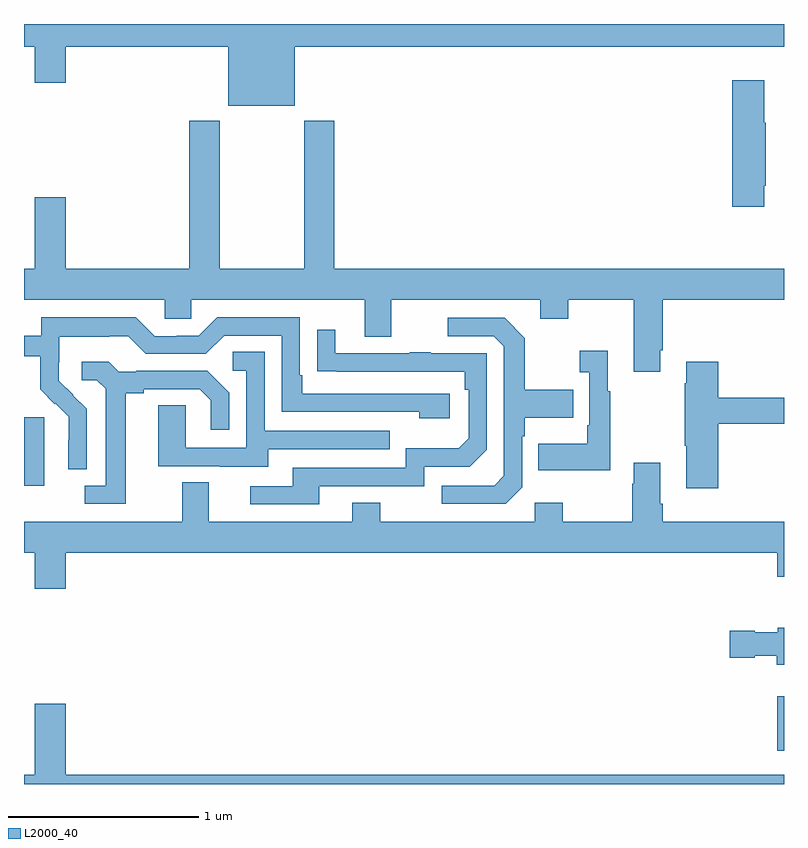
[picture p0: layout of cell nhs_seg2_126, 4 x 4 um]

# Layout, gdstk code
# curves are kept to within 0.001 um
import gdstk
lib = gdstk.Library(unit=1e-6, precision=1e-09)
def R(c, l, rs):  # rectangles x0, y0, x1, y1
    for r in rs: c.add(gdstk.rectangle(r[:2], r[2:], *l))
def P(c, l, *ps):  # polygons
    for p in ps: c.add(gdstk.Polygon(p, *l))
L2000_40 = (2000, 40)

nhs_seg2_126 = lib.new_cell('nhs_seg2_126')
R(nhs_seg2_126, L2000_40, [(120.965,599.976,121,600.262), (117,601.37,117.106,601.731)])
P(nhs_seg2_126, L2000_40, [(118.426,603.68),(121,603.68),(121,603.8),(117,603.8),(117,603.68),(117.056,603.68),(117.056,603.492),(117.22,603.492),(117.22,603.68),(118.076,603.68),(118.076,603.371),(118.426,603.371)],
  [(120.895,602.95),(120.903,602.95),(120.903,603.281),(120.895,603.281),(120.895,603.505),(120.728,603.505),(120.728,602.838),(120.895,602.838)],
  [(120.349,602.083),(120.362,602.083),(120.362,602.348),(121,602.348),(121,602.512),(118.634,602.512),(118.634,603.292),(118.474,603.292),(118.474,602.512),(118.029,602.512),(118.029,603.292),(117.869,603.292),(117.869,602.512),(117.22,602.512),(117.22,602.887),(117.056,602.887),(117.056,602.512),(117,602.512),(117,602.348),(117.741,602.348),(117.741,602.25),(117.879,602.25),(117.879,602.348),(118.793,602.348),(118.793,602.154),(118.933,602.154),(118.933,602.348),(119.717,602.348),(119.717,602.249),(119.865,602.249),(119.865,602.348),(120.209,602.348),(120.209,601.971),(120.349,601.971)],
  [(117.33,601.774),(117.184,601.922),(117.184,602.019),(117.186,602.019),(117.186,602.153),(117.449,602.153),(117.449,602.157),(117.549,602.157),(117.642,602.064),(117.957,602.064),(118.053,602.16),(118.356,602.16),(118.356,601.758),(119.081,601.758),(119.081,601.724),(119.242,601.724),(119.242,601.854),(118.465,601.854),(118.465,601.951),(118.452,601.951),(118.452,602.256),(118.017,602.256),(117.921,602.16),(117.803,602.16),(117.803,602.157),(117.687,602.157),(117.587,602.257),(117.09,602.257),(117.09,602.16),(117,602.16),(117,602.052),(117.085,602.052),(117.085,601.877),(117.162,601.8),(117.165,601.803),(117.236,601.733),(117.236,601.61),(117.234,601.61),(117.234,601.456),(117.33,601.456)],
  [(119.622,601.362),(119.622,601.631),(119.635,601.631),(119.635,601.727),(119.891,601.727),(119.891,601.875),(119.635,601.875),(119.635,602.147),(119.529,602.253),(119.229,602.253),(119.229,602.157),(119.472,602.157),(119.526,602.103),(119.526,601.422),(119.475,601.371),(119.199,601.371),(119.199,601.275),(119.535,601.275)],
  [(118.555,601.368),(119.106,601.368),(119.106,601.47),(119.346,601.47),(119.436,601.56),(119.436,602.067),(119.141,602.067),(119.141,602.072),(119.029,602.072),(119.029,602.067),(118.639,602.067),(118.639,602.191),(118.543,602.191),(118.543,601.972),(119.32,601.971),(119.32,601.874),(119.34,601.874),(119.34,601.62),(119.287,601.567),(119.01,601.567),(119.01,601.464),(118.415,601.464),(118.415,601.368),(118.191,601.368),(118.191,601.272),(118.555,601.272)],
  [(120.085,601.867),(120.073,601.867),(120.073,602.08),(119.925,602.08),(119.925,601.967),(119.976,601.967),(119.976,601.687),(119.964,601.687),(119.964,601.591),(119.707,601.591),(119.707,601.451),(120.085,601.451)],
  [(118.285,601.563),(118.925,601.563),(118.925,601.659),(118.266,601.659),(118.266,602.075),(118.098,602.075),(118.098,601.974),(118.17,601.974),(118.17,601.569),(117.852,601.569),(117.852,601.793),(117.707,601.793),(117.707,601.473),(118.031,601.473),(118.031,601.469),(118.285,601.469)],
  [(120.653,601.696),(121,601.696),(121,601.832),(120.653,601.832),(120.653,602.023),(120.485,602.023),(120.485,601.91),(120.478,601.91),(120.478,601.579),(120.485,601.579),(120.485,601.356),(120.653,601.356)],
  [(117.535,601.856),(117.631,601.856),(117.631,601.878),(117.926,601.878),(117.983,601.821),(117.983,601.665),(118.08,601.665),(118.08,601.858),(117.964,601.974),(117.592,601.974),(117.592,601.971),(117.498,601.971),(117.446,602.023),(117.303,602.023),(117.303,601.926),(117.384,601.926),(117.431,601.879),(117.431,601.371),(117.321,601.371),(117.321,601.275),(117.535,601.275)],
  [(117.22,601.016),(120.965,601.016),(120.965,600.892),(121,600.892),(121,601.18),(120.362,601.18),(120.362,601.276),(120.349,601.276),(120.349,601.492),(120.209,601.492),(120.209,601.379),(120.202,601.379),(120.202,601.18),(119.835,601.18),(119.835,601.279),(119.688,601.279),(119.688,601.18),(118.875,601.18),(118.875,601.279),(118.727,601.279),(118.727,601.18),(117.973,601.18),(117.973,601.388),(117.833,601.388),(117.833,601.18),(117,601.18),(117,601.016),(117.056,601.016),(117.056,600.828),(117.22,600.828)],
  [(121,600.622),(120.966,600.622),(120.966,600.598),(120.846,600.598),(120.846,600.606),(120.714,600.606),(120.714,600.464),(120.846,600.464),(120.846,600.476),(120.962,600.476),(120.962,600.428),(121,600.428)],
  [(121,599.848),(117.22,599.848),(117.22,600.223),(117.056,600.223),(117.056,599.848),(117,599.848),(117,599.8),(121,599.8)])

lib.write_gds('nhs_seg2_126.gds')
